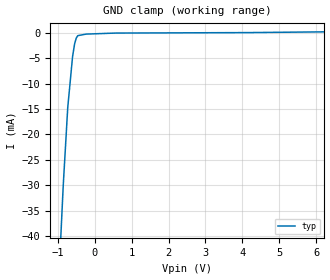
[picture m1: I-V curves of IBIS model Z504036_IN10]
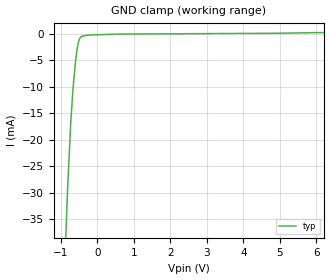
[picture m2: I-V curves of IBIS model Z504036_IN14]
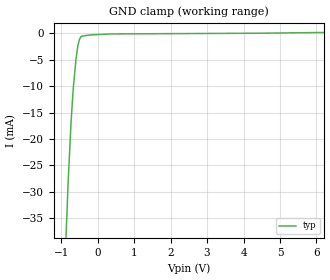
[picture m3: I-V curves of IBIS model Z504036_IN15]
| YOU ARE ONLY AUTHORIZED TO USE THIS SOFTWARE
| ACCORDING TO LICENSOR'S LICENSE RESTRICTIONS.
[IBIS Ver] 3.1
[File Name] mc74f779j.ibs
[File Rev] 2.0
[Source] Measured and created by ICX Technology
[Date] Friday 7/14/00 9:08:05 AM
[Copyright]
| (C) COPYRIGHT 1993-2000
| MENTOR GRAPHICS CORPORATION
| ICX STANDARD LIBRARY, ICX PROJECT MODELING,
| ICX CUSTOM MODELING, ICX VENDOR MODEL
| ALL RIGHTS RESERVED.
| THE FOLLOWING ARE TRADEMARKS OR SERVICE MARKS OF
| MENTOR GRAPHICS CORPORATION:ICX (R), ICX STANDARD
| LIBRARY(R), ICX PROJECT MODELING(R), ICX CUSTOM
| MODELING(R), qualityIBIS(TM), MODELVIEWER(TM),
| AND MODELEDITOR(TM)
| ALL COPIES OF SOFTWARE, INCLUDING BUT NOT LIMITED TO
| ANY MODIFICATIONS, ENHANCEMENTS OR DERIVATIVE WORKS,
| MUST CONTAIN ALL MENTOR GRAPHICS CORPORATION'S
| NOTICES AND LEGENDS, INCLUDING THOSE EMBEDDED IN
| SOFTWARE AND THOSE AFFIXED TO SOFTWARE MEDIUM
| AND CONTAINER, AS RECEIVED FROM MENTOR GRAPHICS
| CORPORATION.
|  ZAP Model Builder 2.7
[Component] MC74F779J
[Manufacturer] OnSemiconductor
[Package]
| variable   typ   min   max
R_pkg  .212ohms NA NA
L_pkg  4.758nH NA NA
C_pkg  1.944pF NA NA
[Pin] signal_name  model_name  R_pin  L_pin C_pin
1 I/O1 Z504036_TRI16 .224 7.258n 2.683p
2 I/O2 Z504036_TRI16 .216 5.258n 2.19p
3 I/O3 Z504036_TRI16 .208 3.758n 1.697p
4 GND GND .2 2.758n 1.204p
5 I/O4 Z504036_TRI16 .2 2.758n 1.204p
6 I/O5 Z504036_TRI16 .208 3.758n 1.697p
7 I/O6 Z504036_TRI16 .216 5.258n 2.19p
8 I/O7 Z504036_TRI16 .224 7.258n 2.683p
9 _OE Z504036_IN9 .224 7.258n 2.683p
10 S1 Z504036_IN10 .216 5.258n 2.19p
11 S0 Z504036_IN10 .208 3.758n 1.697p
12 _TC Z504036_OUT12 .2 2.758n 1.204p
13 VCC POWER .2 2.758n 1.204p
14 _CET Z504036_IN14 .208 3.758n 1.697p
15 CP Z504036_IN15 .216 5.258n 2.19p
16 I/O0 Z504036_TRI16 .224 7.258n 2.683p
| Models and submodels in the file (6): Z504036_IN10 (Input), Z504036_IN14 (Input), Z504036_IN15 (Input), Z504036_IN9 (Input), Z504036_OUT12 (Output), Z504036_TRI16 (3-state)
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| (C) COPYRIGHT 1993-2000
| MENTOR GRAPHICS CORPORATION
| ICX STANDARD LIBRARY, ICX PROJECT MODELING,
| ICX CUSTOM MODELING, ICX VENDOR MODEL
| ALL RIGHTS RESERVED.
| THE FOLLOWING ARE TRADEMARKS OR SERVICE MARKS OF
| MENTOR GRAPHICS CORPORATION:ICX (R), ICX STANDARD
| LIBRARY(R), ICX PROJECT MODELING(R), ICX CUSTOM
| MODELING(R), qualityIBIS(TM), MODELVIEWER(TM),
| AND MODELEDITOR(TM)
| ALL COPIES OF SOFTWARE, INCLUDING BUT NOT LIMITED TO
| ANY MODIFICATIONS, ENHANCEMENTS OR DERIVATIVE WORKS,
| MUST CONTAIN ALL MENTOR GRAPHICS CORPORATION'S
| NOTICES AND LEGENDS, INCLUDING THOSE EMBEDDED IN
| SOFTWARE AND THOSE AFFIXED TO SOFTWARE MEDIUM
| AND CONTAINER, AS RECEIVED FROM MENTOR GRAPHICS
| CORPORATION.
| Model Application Version 1.89 2/18/99.
[Model] Z504036_IN10
Model_type Input
Vinl = 500.0mV
Vinh = 2.700V
C_comp 4.000pF NA NA
| variable typ   min   max
[Voltage Range] 5.000V NA NA
[GND Clamp Reference] 0.000V NA NA
[POWER Clamp Reference] 5.000V NA NA
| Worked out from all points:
|   GND clamp passes 1 mA (typ) near -0.49 V on its own axis
[GND Clamp]
-5V       -668mA     NA         NA
-848.4mV  -29.95mA   NA         NA
-727.3mV  -14.71mA   NA         NA
-595.9mV  -4.641mA   NA         NA
-540.3mV  -2.139mA   NA         NA
-497.6mV  -1.064mA   NA         NA
-458.7mV  -574uA     NA         NA
-229.4mV  -260.3uA   NA         NA
566.5mV   -55.85uA   NA         NA
4.159V    37.4uA     NA         NA
10V       450uA      NA         NA
[POWER Clamp]
-5V       0A         NA         NA
10V       0A         NA         NA
| (C) COPYRIGHT 1993-2000
| MENTOR GRAPHICS CORPORATION
| ICX STANDARD LIBRARY, ICX PROJECT MODELING,
| ICX CUSTOM MODELING, ICX VENDOR MODEL
| ALL RIGHTS RESERVED.
| THE FOLLOWING ARE TRADEMARKS OR SERVICE MARKS OF
| MENTOR GRAPHICS CORPORATION:ICX (R), ICX STANDARD
| LIBRARY(R), ICX PROJECT MODELING(R), ICX CUSTOM
| MODELING(R), qualityIBIS(TM), MODELVIEWER(TM),
| AND MODELEDITOR(TM)
| ALL COPIES OF SOFTWARE, INCLUDING BUT NOT LIMITED TO
| ANY MODIFICATIONS, ENHANCEMENTS OR DERIVATIVE WORKS,
| MUST CONTAIN ALL MENTOR GRAPHICS CORPORATION'S
| NOTICES AND LEGENDS, INCLUDING THOSE EMBEDDED IN
| SOFTWARE AND THOSE AFFIXED TO SOFTWARE MEDIUM
| AND CONTAINER, AS RECEIVED FROM MENTOR GRAPHICS
| CORPORATION.
| Model Application Version 1.89 2/18/99.
[Model] Z504036_IN14
Model_type Input
Vinl = 500.0mV
Vinh = 2.700V
C_comp 4.000pF NA NA
| variable typ   min   max
[Voltage Range] 5.000V NA NA
[GND Clamp Reference] 0.000V NA NA
[POWER Clamp Reference] 5.000V NA NA
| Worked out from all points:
|   GND clamp passes 1 mA (typ) near -0.49 V on its own axis
[GND Clamp]
-5V       -790.5mA   NA         NA
-810.5mV  -28.58mA   NA         NA
-725.7mV  -16.43mA   NA         NA
-668.2mV  -10.46mA   NA         NA
-595.8mV  -5.013mA   NA         NA
-540.5mV  -2.282mA   NA         NA
-497.4mV  -1.123mA   NA         NA
-458.9mV  -600.3uA   NA         NA
-180.4mV  -243.9uA   NA         NA
522.1mV   -71.9uA    NA         NA
4.919V    83.19uA    NA         NA
10V       611.9uA    NA         NA
[POWER Clamp]
-5V       0A         NA         NA
10V       0A         NA         NA
| (C) COPYRIGHT 1993-2000
| MENTOR GRAPHICS CORPORATION
| ICX STANDARD LIBRARY, ICX PROJECT MODELING,
| ICX CUSTOM MODELING, ICX VENDOR MODEL
| ALL RIGHTS RESERVED.
| THE FOLLOWING ARE TRADEMARKS OR SERVICE MARKS OF
| MENTOR GRAPHICS CORPORATION:ICX (R), ICX STANDARD
| LIBRARY(R), ICX PROJECT MODELING(R), ICX CUSTOM
| MODELING(R), qualityIBIS(TM), MODELVIEWER(TM),
| AND MODELEDITOR(TM)
| ALL COPIES OF SOFTWARE, INCLUDING BUT NOT LIMITED TO
| ANY MODIFICATIONS, ENHANCEMENTS OR DERIVATIVE WORKS,
| MUST CONTAIN ALL MENTOR GRAPHICS CORPORATION'S
| NOTICES AND LEGENDS, INCLUDING THOSE EMBEDDED IN
| SOFTWARE AND THOSE AFFIXED TO SOFTWARE MEDIUM
| AND CONTAINER, AS RECEIVED FROM MENTOR GRAPHICS
| CORPORATION.
| Model Application Version 1.89 2/18/99.
[Model] Z504036_IN15
Model_type Input
Vinl = 500.0mV
Vinh = 2.700V
C_comp 4.000pF NA NA
| variable typ   min   max
[Voltage Range] 5.000V NA NA
[GND Clamp Reference] 0.000V NA NA
[POWER Clamp Reference] 5.000V NA NA
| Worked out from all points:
|   GND clamp passes 1 mA (typ) near -0.49 V on its own axis
[GND Clamp]
-5V       -789.8mA   NA         NA
-810.6mV  -28.64mA   NA         NA
-725.2mV  -16.49mA   NA         NA
-668mV    -10.48mA   NA         NA
-595.7mV  -5.038mA   NA         NA
-540.6mV  -2.303mA   NA         NA
-497.7mV  -1.145mA   NA         NA
-458.9mV  -620.9uA   NA         NA
-419.9mV  -484.3uA   NA         NA
346.2mV   -85.11uA   NA         NA
10V       473.5uA    NA         NA
[POWER Clamp]
-5V       0A         NA         NA
10V       0A         NA         NA
